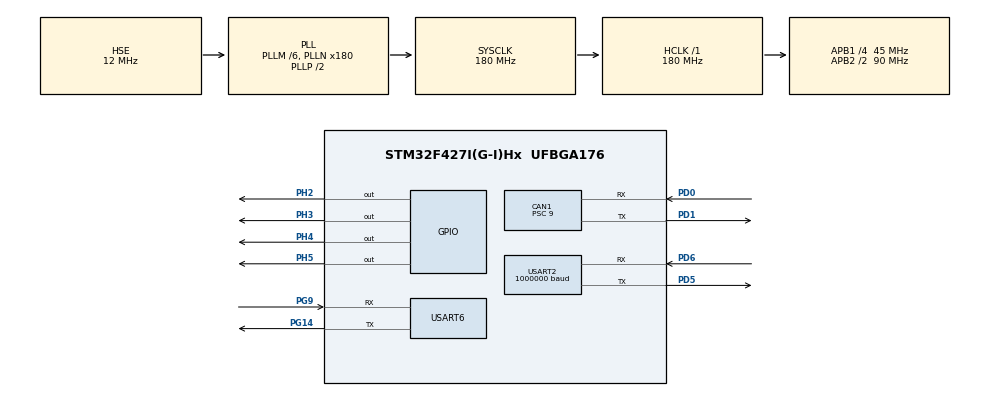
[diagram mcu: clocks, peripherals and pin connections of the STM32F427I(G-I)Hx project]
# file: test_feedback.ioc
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CAN1.ABOM=ENABLE
CAN1.BS1=CAN_BS1_2TQ
CAN1.BS2=CAN_BS2_2TQ
CAN1.CalculateBaudRate=1000000
CAN1.CalculateTimeBit=1000
CAN1.CalculateTimeQuantum=200.0
CAN1.Prescaler=9
Dma.Request0=USART2_RX
Dma.Request1=USART2_TX
Dma.Request2=USART6_RX
Dma.Request3=USART6_TX
Dma.USART2_RX.0.Direction=DMA_PERIPH_TO_MEMORY
Dma.USART2_RX.0.FIFOMode=DMA_FIFOMODE_DISABLE
Dma.USART2_RX.0.Instance=DMA1_Stream5
Dma.USART2_RX.0.MemDataAlignment=DMA_MDATAALIGN_BYTE
Dma.USART2_RX.0.MemInc=DMA_MINC_ENABLE
Dma.USART2_RX.0.Mode=DMA_NORMAL
Dma.USART2_RX.0.PeriphDataAlignment=DMA_PDATAALIGN_BYTE
Dma.USART2_RX.0.PeriphInc=DMA_PINC_DISABLE
Dma.USART2_RX.0.Priority=DMA_PRIORITY_LOW
Dma.USART2_TX.1.Direction=DMA_MEMORY_TO_PERIPH
Dma.USART2_TX.1.FIFOMode=DMA_FIFOMODE_DISABLE
Dma.USART2_TX.1.Instance=DMA1_Stream6
Dma.USART2_TX.1.MemDataAlignment=DMA_MDATAALIGN_BYTE
Dma.USART2_TX.1.MemInc=DMA_MINC_ENABLE
Dma.USART2_TX.1.Mode=DMA_NORMAL
Dma.USART2_TX.1.PeriphDataAlignment=DMA_PDATAALIGN_BYTE
Dma.USART2_TX.1.PeriphInc=DMA_PINC_DISABLE
Dma.USART2_TX.1.Priority=DMA_PRIORITY_LOW
Dma.USART6_RX.2.Direction=DMA_PERIPH_TO_MEMORY
Dma.USART6_RX.2.FIFOMode=DMA_FIFOMODE_DISABLE
Dma.USART6_RX.2.Instance=DMA2_Stream1
Dma.USART6_RX.2.MemDataAlignment=DMA_MDATAALIGN_BYTE
Dma.USART6_RX.2.MemInc=DMA_MINC_ENABLE
Dma.USART6_RX.2.Mode=DMA_NORMAL
Dma.USART6_RX.2.PeriphDataAlignment=DMA_PDATAALIGN_BYTE
Dma.USART6_RX.2.PeriphInc=DMA_PINC_DISABLE
Dma.USART6_RX.2.Priority=DMA_PRIORITY_LOW
Dma.USART6_TX.3.Direction=DMA_MEMORY_TO_PERIPH
Dma.USART6_TX.3.FIFOMode=DMA_FIFOMODE_DISABLE
Dma.USART6_TX.3.Instance=DMA2_Stream6
Dma.USART6_TX.3.MemDataAlignment=DMA_MDATAALIGN_BYTE
Dma.USART6_TX.3.MemInc=DMA_MINC_ENABLE
Dma.USART6_TX.3.Mode=DMA_NORMAL
Dma.USART6_TX.3.PeriphDataAlignment=DMA_PDATAALIGN_BYTE
Dma.USART6_TX.3.PeriphInc=DMA_PINC_DISABLE
Dma.USART6_TX.3.Priority=DMA_PRIORITY_LOW
FREERTOS.Tasks01=TaskJ4310,24,128,StartTaskJ4310,Default,NULL,Dynamic,NULL,NULL;Task3508,24,512,StartTask3508,Default,NULL,Dynamic,NULL,NULL
Mcu.Family=STM32F4
Mcu.Name=STM32F427I(G-I)Hx
Mcu.Package=UFBGA176
NVIC.CAN1_RX0_IRQn=true\:5\:0\:false\:false\:true\:true\:true\:true\:true
NVIC.CAN1_RX1_IRQn=true\:5\:0\:false\:false\:true\:true\:true\:true\:true
NVIC.DMA1_Stream5_IRQn=true\:5\:0\:false\:false\:true\:true\:false\:true\:true
NVIC.DMA1_Stream6_IRQn=true\:5\:0\:false\:false\:true\:true\:false\:true\:true
NVIC.DMA2_Stream1_IRQn=true\:5\:0\:false\:false\:true\:true\:false\:true\:true
NVIC.DMA2_Stream6_IRQn=true\:5\:0\:false\:false\:true\:true\:false\:true\:true
NVIC.PriorityGroup=NVIC_PRIORITYGROUP_4
NVIC.TIM8_TRG_COM_TIM14_IRQn=true\:15\:0\:false\:false\:true\:false\:false\:true\:true
NVIC.TimeBase=TIM8_TRG_COM_TIM14_IRQn
NVIC.TimeBaseIP=TIM14
NVIC.USART2_IRQn=true\:5\:0\:false\:false\:true\:true\:true\:true\:true
NVIC.USART6_IRQn=true\:5\:0\:false\:false\:true\:true\:true\:true\:true
PA13.Mode=Serial_Wire
PA13.Signal=SYS_JTMS-SWDIO
PA14.Mode=Serial_Wire
PA14.Signal=SYS_JTCK-SWCLK
PD0.Mode=CAN_Activate
PD0.Signal=CAN1_RX
PD1.Mode=CAN_Activate
PD1.Signal=CAN1_TX
PD5.Mode=Asynchronous
PD5.Signal=USART2_TX
PD6.Mode=Asynchronous
PD6.Signal=USART2_RX
PG14.Mode=Asynchronous
PG14.Signal=USART6_TX
PG9.Mode=Asynchronous
PG9.Signal=USART6_RX
PH0/OSC_IN.Mode=HSE-External-Oscillator
PH0/OSC_IN.Signal=RCC_OSC_IN
PH1/OSC_OUT.Mode=HSE-External-Oscillator
PH1/OSC_OUT.Signal=RCC_OSC_OUT
PH2.GPIO_PuPd=GPIO_PULLDOWN
PH2.Signal=GPIO_Output
PH3.GPIO_PuPd=GPIO_PULLDOWN
PH3.Signal=GPIO_Output
PH4.GPIO_PuPd=GPIO_PULLDOWN
PH4.Signal=GPIO_Output
PH5.GPIO_PuPd=GPIO_PULLDOWN
PH5.Signal=GPIO_Output
ProjectManager.HeapSize=0x200
ProjectManager.StackSize=0x400
ProjectManager.TargetToolchain=CMake
RCC.48MHZClocksFreq_Value=90000000
RCC.AHBFreq_Value=180000000
RCC.APB1CLKDivider=RCC_HCLK_DIV4
RCC.APB1Freq_Value=45000000
RCC.APB1TimFreq_Value=90000000
RCC.APB2CLKDivider=RCC_HCLK_DIV2
RCC.APB2Freq_Value=90000000
RCC.APB2TimFreq_Value=180000000
RCC.CortexFreq_Value=180000000
RCC.HCLKFreq_Value=180000000
RCC.HSE_VALUE=12000000
RCC.HSI_VALUE=16000000
RCC.LSE_VALUE=32768
RCC.PLLM=6
RCC.PLLN=180
RCC.PLLSourceVirtual=RCC_PLLSOURCE_HSE
RCC.SYSCLKFreq_VALUE=180000000
RCC.SYSCLKSource=RCC_SYSCLKSOURCE_PLLCLK
RCC.VCOOutputFreq_Value=360000000
USART2.BaudRate=1000000
USART2.VirtualMode=VM_ASYNC
USART6.VirtualMode=VM_ASYNC
VP_FREERTOS_VS_CMSIS_V2.Mode=CMSIS_V2
VP_SYS_VS_tim14.Mode=TIM14
board=custom

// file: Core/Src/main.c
/* USER CODE BEGIN Header */
/**
 ******************************************************************************
 * @file           : main.c
 * @brief          : Main program body
 ******************************************************************************
 * @attention
 *
 * Copyright (c) 2023 STMicroelectronics.
 * All rights reserved.
 *
 * This software is licensed under terms that can be found in the LICENSE file
 * in the root directory of this software component.
 * If no LICENSE file comes with this software, it is provided AS-IS.
 *
 ******************************************************************************
 */
/* USER CODE END Header */
#include "main.h"
#include "cmsis_os.h"
#include "can.h"
#include "dma.h"
#include "usart.h"
#include "gpio.h"

/* USER CODE BEGIN Includes */
/* If this file is compiled as C++, ensure C linkage for CubeMX/FreeRTOS
  functions and callbacks implemented in C source files. Put C++ headers
  after the extern "C" block. */
#ifdef __cplusplus
extern "C" {
#endif

#include "FreeRTOS.h"

/* Declarations for functions implemented in C sources (freertos.c, drv code)
  that are called from this translation unit. Placing them here inside the
  USER CODE block prevents CubeMX from overwriting them. */
void MX_FREERTOS_Init(void);

#ifdef __cplusplus
}
#endif

/* C++ headers (classes, templates, etc.) */
#include "drv_bsp.h"
#include "drv_tim.h"
#include "dvc_serialplot.h"
#include "dvc_motor.h"
#include "dvc_motor_dm.h"
#include "motor_dm_task.h"
#include "motor_dji_task.h"

/* USER CODE END Includes */

/* USER CODE BEGIN PV */

extern TIM_HandleTypeDef htim14;

bool init_finished = false;

Class_Serialplot serialplot;
// Class_Motor_GM6020 motor_6020;

float Target_Angle_3508, Now_Angle_3508, Target_Omega_3508, Now_Omega_3508;
// float Target_Angle_6020, Now_Angle_6020, Target_Omega_6020, Now_Omega_6020, Target_Current_6020, Now_Current_6020;

uint32_t Counter = 0;

static char Variable_Assignment_List[][SERIALPLOT_RX_VARIABLE_ASSIGNMENT_MAX_LENGTH] = {
    //电机调PID
    "po",
    "io",
    "do",
    "fo",
};

/* USER CODE END PV */

void SystemClock_Config(void);
void MX_FREERTOS_Init(void);
/* USER CODE BEGIN PFP */

void TIM14_Callback(void);

/* USER CODE END PFP */

/* USER CODE BEGIN 0 */

/**
 * @brief CAN报文回调函数
 *
 * @param Rx_Buffer CAN接收的信息结构体
 */
void CAN_Motor_Call_Back(Struct_CAN_Rx_Buffer *Rx_Buffer)
{
  switch (Rx_Buffer->Header.StdId)
  {
    case (0x201):
    {
      DJI_M3508_CAN_RxCpltCallback(Rx_Buffer->Data);
      break;
    }
    case (0x00):
    {
      J4310_CAN_RxCpltCallback(Rx_Buffer->Data);
      break;
    }
    default:
    {
      break;
    }
  }
}

/**
 * @brief HAL库UART接收DMA空闲中断
 *
 * @param huart UART编号
 * @param Size 长度
 */
void UART_Serialplot_Call_Back(uint8_t *Buffer, uint16_t Length)
{
    serialplot.UART_RxCpltCallback(Buffer);
    switch (serialplot.Get_Variable_Index())
    {
        // 电机调PID
        // case(0):
        // {
        //     motor_3508.PID_Omega.Set_K_P(serialplot.Get_Variable_Value());
        // }
        // break;
        // case(1):
        // {
        //     motor_3508.PID_Omega.Set_K_I(serialplot.Get_Variable_Value());
        // }
        // break;
        // case(2):
        // {
        //     motor_3508.PID_Omega.Set_K_D(serialplot.Get_Variable_Value());
        // }
        // break;
        // case(3):
        // {
        //     motor_3508.PID_Omega.Set_K_F(serialplot.Get_Variable_Value());
        // }
        // break;
    }
}

/* USER CODE END 0 */

int main(void)
{

  /* MCU Configuration--------------------------------------------------------*/

  /* Reset of all peripherals, Initializes the Flash interface and the Systick. */
  HAL_Init();

  /* Configure the system clock */
  SystemClock_Config();

  /* Initialize all configured peripherals */
  MX_GPIO_Init();
  MX_DMA_Init();
  MX_CAN1_Init();
  MX_USART2_UART_Init();
  MX_USART6_UART_Init();
  /* USER CODE BEGIN 2 */

  BSP_Init(BSP_DC24_LU_ON | BSP_DC24_LD_ON | BSP_DC24_RU_ON | BSP_DC24_RD_ON);
  CAN_Init(&hcan1, CAN_Motor_Call_Back);
  UART_Init(&huart2, UART_Serialplot_Call_Back, SERIALPLOT_RX_VARIABLE_ASSIGNMENT_MAX_LENGTH);

  serialplot.Init(&huart2, 6, (char **)Variable_Assignment_List);

  DJI_M3508_Task_Init();

    // motor_6020.PID_Torque.Init(0.8f, 100.0f, 0.0f, 0.0f, 30000.0f, 30000.0f);
    // motor_6020.PID_Omega.Init(500.0f, 2000.0f, 0.0f, 0.0f, 1000.0f, 1000.0f);
    // motor_6020.PID_Angle.Init(12.0f, 0.0f, 0.0f, 0.0f, 4.0f * PI, 4.0f * PI);
    // motor_6020.Init(&hcan1, CAN_Motor_ID_0x205, Control_Method_ANGLE);

  J4310_Task_Init();

  // 注册TIM14的回调函数用于系统时基
  TIM_Init(&htim14, TIM14_Callback);

  // 初始化完成，允许定时器中断回调执行
  init_finished = true;

  /* USER CODE END 2 */

  /* Init scheduler */
  osKernelInitialize();  /* Call init function for freertos objects (in cmsis_os2.c) */
  MX_FREERTOS_Init();

  /* Start scheduler */
  osKernelStart();

  /* We should never get here as control is now taken by the scheduler */

  /* Infinite loop */
  /* USER CODE BEGIN WHILE */
  while (1)
  {
    //延时1ms
    HAL_Delay(0);
    /* USER CODE END WHILE */

    }
}

void SystemClock_Config(void)
{
  RCC_OscInitTypeDef RCC_OscInitStruct = {0};
  RCC_ClkInitTypeDef RCC_ClkInitStruct = {0};

  /** Configure the main internal regulator output voltage
  */
  __HAL_RCC_PWR_CLK_ENABLE();
  __HAL_PWR_VOLTAGESCALING_CONFIG(PWR_REGULATOR_VOLTAGE_SCALE1);

  /** Initializes the RCC Oscillators according to the specified parameters
  * in the RCC_OscInitTypeDef structure.
  */
  RCC_OscInitStruct.OscillatorType = RCC_OSCILLATORTYPE_HSE;
  RCC_OscInitStruct.HSEState = RCC_HSE_ON;
  RCC_OscInitStruct.PLL.PLLState = RCC_PLL_ON;
  RCC_OscInitStruct.PLL.PLLSource = RCC_PLLSOURCE_HSE;
  RCC_OscInitStruct.PLL.PLLM = 6;
  RCC_OscInitStruct.PLL.PLLN = 180;
  RCC_OscInitStruct.PLL.PLLP = RCC_PLLP_DIV2;
  RCC_OscInitStruct.PLL.PLLQ = 4;
  if (HAL_RCC_OscConfig(&RCC_OscInitStruct) != HAL_OK)
  {
    Error_Handler();
  }

  /** Activate the Over-Drive mode
  */
  if (HAL_PWREx_EnableOverDrive() != HAL_OK)
  {
    Error_Handler();
  }

  /** Initializes the CPU, AHB and APB buses clocks
  */
  RCC_ClkInitStruct.ClockType = RCC_CLOCKTYPE_HCLK|RCC_CLOCKTYPE_SYSCLK
                              |RCC_CLOCKTYPE_PCLK1|RCC_CLOCKTYPE_PCLK2;
  RCC_ClkInitStruct.SYSCLKSource = RCC_SYSCLKSOURCE_PLLCLK;
  RCC_ClkInitStruct.AHBCLKDivider = RCC_SYSCLK_DIV1;
  RCC_ClkInitStruct.APB1CLKDivider = RCC_HCLK_DIV4;
  RCC_ClkInitStruct.APB2CLKDivider = RCC_HCLK_DIV2;

  if (HAL_RCC_ClockConfig(&RCC_ClkInitStruct, FLASH_LATENCY_5) != HAL_OK)
  {
    Error_Handler();
  }
}

/* USER CODE BEGIN 4 */

/**
 * @brief TIM14系统时基回调函数 (用于BSP库的TIM中断处理)
 */
void TIM14_Callback(void)
{
  HAL_IncTick();
}

/* USER CODE END 4 */

// void HAL_TIM_PeriodElapsedCallback(TIM_HandleTypeDef *htim)
// {
//   /* USER CODE BEGIN Callback 0 */

//   /* USER CODE END Callback 0 */
//   if (htim->Instance == TIM14)
//   {
//     HAL_IncTick();
//   }
//   /* USER CODE BEGIN Callback 1 */

//   /* USER CODE END Callback 1 */
// }

void Error_Handler(void)
{
    __disable_irq();
    while (1)
    {
    }
}
